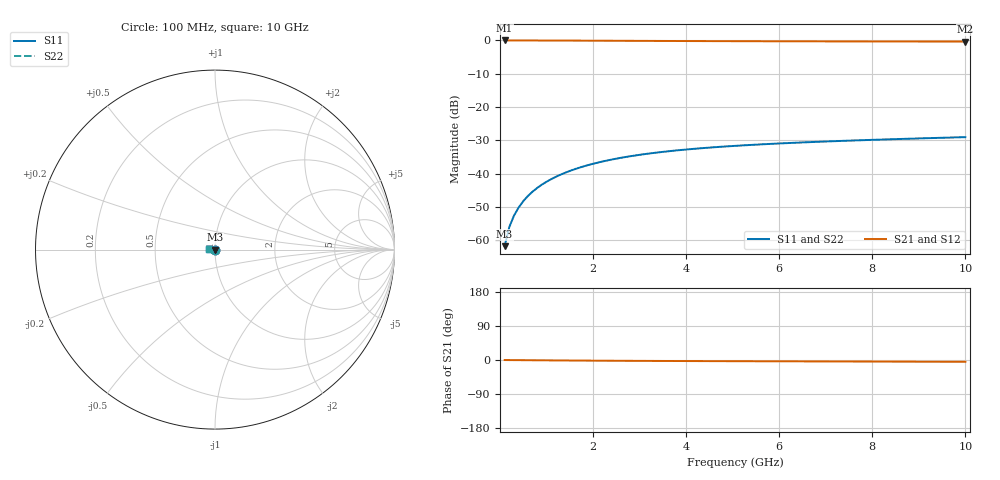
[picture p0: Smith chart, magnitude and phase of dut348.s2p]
! Touchstone file exported from HFSS 2024.1.0
!  File:  C:/UserFiles/LocalFiles/RDL_TSV_Batchsim/temp_TSV1_348_1779619837.aedt
!  Generated:  06:56:52 PM May 24, 2026
!  Design:  TSV1
!  Project:  temp_TSV1_348_1779619837
!  Setup:  Setup1
!  Solution:  Sweep
! Variables:
!  dtsv = 6.85um
!  hbump = 3um
!  htsv = 72.94um
!  lrdl = 252.1521522um
!  p = 40
!  p1 = 41.35um
!  t = 500um
!  trdl = 3um
!  wrdl = 24.89489489um
# GHz S MA R 50.000000
! Terminal data exported
! Port[1] = TSV22_T1
! Port[2] = TSV22_T2
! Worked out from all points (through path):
!   100 points, 100 MHz to 10 GHz, reference 50 ohm
!   highest |S21| = 0.00 dB at 100 MHz (marker M1); lowest = -0.3 dB at 10 GHz (marker M2)
!   lowest |S11| = -61.8 dB at 100 MHz (marker M3), VSWR 1.00, Z = 50 - j0.0769 ohm
!   |S11| at or under -10 dB: start of sweep to end of sweep
!   |S22| runs from -61.8 to -29.0 dB; largest |S21 - S12| = 5.6e-15
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0.1  0.000814 -70.8  0.9997 -0.1  0.9997 -0.1  0.000814 -70.8
! Gamma 0 0 0 0
! Port Impedance 50 0 50 0
0.2  0.001568 -82.6  0.9996 -0.2  0.9996 -0.2  0.001568 -82.6
0.3  0.002332 -87.9  0.9995 -0.3  0.9995 -0.3  0.002332 -87.9
0.4  0.003095 -91.4  0.9993 -0.4  0.9993 -0.4  0.003095 -91.4
0.5  0.003855 -94.2  0.9991 -0.5  0.9991 -0.5  0.003855 -94.2
0.6  0.004609 -96.6  0.9988 -0.6  0.9988 -0.6  0.004609 -96.6
0.7  0.005357 -98.8  0.9985 -0.7  0.9985 -0.7  0.005357 -98.8
0.8  0.006096 -100.8  0.9982 -0.8  0.9982 -0.8  0.006096 -100.8
0.9  0.006827 -102.8  0.9978 -0.8  0.9978 -0.8  0.006827 -102.8
1.1  0.008257 -106.5  0.997 -1.0  0.997 -1.0  0.008257 -106.5
1.4  0.01031 -111.7  0.9955 -1.3  0.9955 -1.3  0.01031 -111.7
1.6  0.01162 -115.0  0.9944 -1.4  0.9944 -1.4  0.01162 -115.0
1.8  0.01287 -118.2  0.9932 -1.6  0.9932 -1.6  0.01287 -118.2
2.1  0.01463 -122.7  0.9913 -1.8  0.9913 -1.8  0.01463 -122.7
2.5  0.01678 -128.4  0.9888 -2.0  0.9888 -2.0  0.01678 -128.4
2.9  0.01871 -133.7  0.9862 -2.3  0.9862 -2.3  0.01871 -133.7
3.4  0.02083 -139.8  0.9832 -2.5  0.9832 -2.5  0.02083 -139.8
4.2  0.02367 -148.5  0.9788 -2.8  0.9788 -2.8  0.02367 -148.5
5.1  0.02625 -156.9  0.9746 -3.2  0.9746 -3.2  0.02625 -156.9
6.7  0.02981 -169.4  0.969 -3.7  0.969 -3.7  0.02981 -169.4
8.4  0.03281 179.8  0.965 -4.2  0.965 -4.2  0.03281 179.8
10  0.03531 171.3  0.9622 -4.7  0.9622 -4.7  0.03531 171.3
